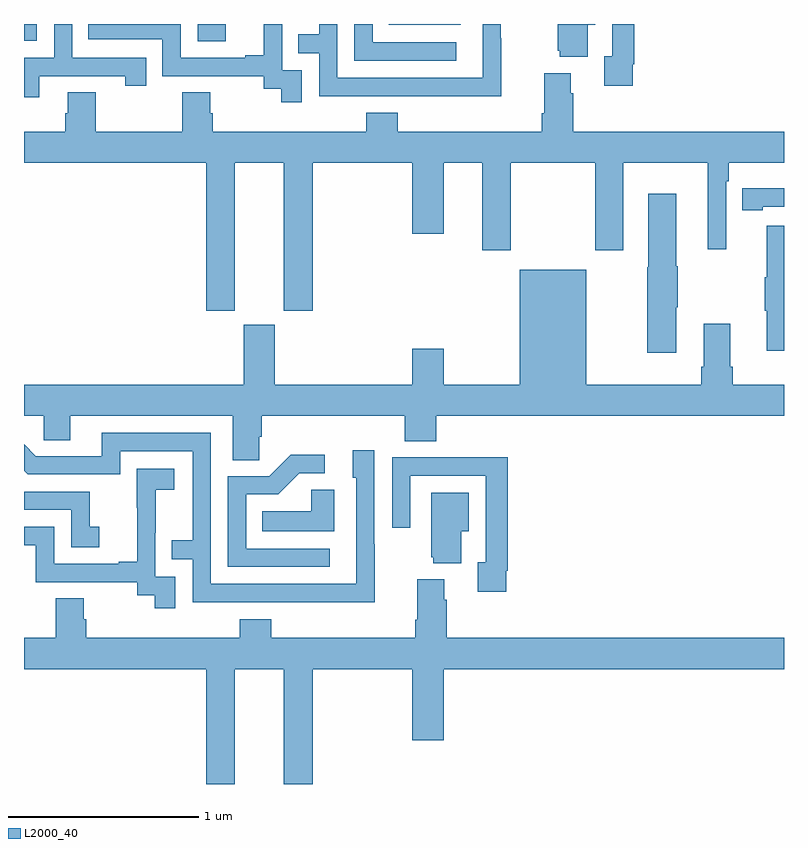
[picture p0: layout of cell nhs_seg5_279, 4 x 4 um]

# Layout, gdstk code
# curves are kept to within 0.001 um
import gdstk
lib = gdstk.Library(unit=1e-6, precision=1e-09)
def R(c, l, rs):  # rectangles x0, y0, x1, y1
    for r in rs: c.add(gdstk.rectangle(r[:2], r[2:], *l))
def P(c, l, *ps):  # polygons
    for p in ps: c.add(gdstk.Polygon(p, *l))
L2000_40 = (2000, 40)

nhs_seg5_279 = lib.new_cell('nhs_seg5_279')
R(nhs_seg5_279, L2000_40, [(127.914,882.708,128.062,882.799), (127,882.711,127.068,882.799), (128.92,882.794,129.298,882.799)])
P(nhs_seg5_279, L2000_40, [(127.081,882.525),(127.532,882.525),(127.532,882.474),(127.643,882.474),(127.643,882.621),(127.254,882.621),(127.254,882.799),(127.158,882.799),(127.158,882.621),(127,882.621),(127,882.414),(127.081,882.414)],
  [(128.463,882.555),(128.358,882.555),(128.358,882.785),(128.36,882.785),(128.36,882.799),(128.261,882.799),(128.261,882.634),(128.165,882.634),(128.165,882.621),(127.824,882.621),(127.824,882.799),(127.339,882.799),(127.339,882.72),(127.728,882.72),(127.728,882.525),(128.262,882.525),(128.262,882.457),(128.355,882.457),(128.355,882.387),(128.463,882.387)],
  [(130.204,882.586),(130.211,882.586),(130.211,882.799),(130.095,882.799),(130.095,882.63),(130.055,882.63),(130.055,882.474),(130.204,882.474)],
  [(129.274,882.702),(128.835,882.702),(128.835,882.799),(128.739,882.799),(128.739,882.606),(129.274,882.606)],
  [(129.513,882.725),(129.51,882.725),(129.51,882.799),(129.414,882.799),(129.414,882.516),(128.649,882.516),(128.649,882.799),(128.553,882.799),(128.553,882.746),(128.443,882.746),(128.443,882.645),(128.553,882.645),(128.553,882.42),(129.049,882.42),(129.049,882.419),(129.513,882.419)],
  [(129.967,882.794),(130.006,882.794),(130.006,882.799),(129.809,882.799),(129.809,882.657),(129.821,882.657),(129.821,882.626),(129.967,882.626)],
  [(129.877,882.434),(129.877,882.541),(129.737,882.541),(129.737,882.328),(129.725,882.328),(129.725,882.232),(128.966,882.232),(128.966,882.331),(128.801,882.331),(128.801,882.232),(127.994,882.232),(127.994,882.33),(127.981,882.33),(127.981,882.44),(127.834,882.44),(127.834,882.232),(127.377,882.232),(127.377,882.44),(127.229,882.44),(127.229,882.33),(127.217,882.33),(127.217,882.232),(127,882.232),(127,882.068),(127.958,882.068),(127.958,881.289),(128.11,881.289),(128.11,882.068),(128.366,882.068),(128.366,881.289),(128.519,881.289),(128.519,882.068),(129.044,882.068),(129.044,881.694),(129.208,881.694),(129.208,882.068),(129.413,882.068),(129.413,881.607),(129.561,881.607),(129.561,882.068),(130.006,882.068),(130.006,881.607),(130.153,881.607),(130.153,882.068),(130.598,882.068),(130.598,881.613),(130.695,881.613),(130.695,881.972),(130.709,881.972),(130.709,882.068),(131,882.068),(131,882.232),(129.89,882.232),(129.89,882.434)],
  [(130.888,881.838),(131,881.838),(131,881.935),(130.888,881.935),(130.888,881.934),(130.78,881.934),(130.78,881.818),(130.888,881.818)],
  [(130.432,881.308),(130.44,881.308),(130.44,881.525),(130.432,881.525),(130.432,881.905),(130.286,881.905),(130.286,881.519),(130.279,881.519),(130.279,881.07),(130.432,881.07)],
  [(131,881.737),(130.91,881.737),(130.91,881.465),(130.899,881.465),(130.899,881.291),(130.91,881.291),(130.91,881.079),(131,881.079)],
  [(128.238,880.627),(128.252,880.627),(128.252,880.736),(129.005,880.736),(129.005,880.603),(129.17,880.603),(129.17,880.736),(131,880.736),(131,880.9),(130.73,880.9),(130.73,880.996),(130.717,880.996),(130.717,881.221),(130.577,881.221),(130.577,880.996),(130.565,880.996),(130.565,880.9),(129.958,880.9),(129.958,881.506),(129.608,881.506),(129.608,880.9),(129.208,880.9),(129.208,881.089),(129.044,881.089),(129.044,880.9),(128.32,880.9),(128.32,881.217),(128.156,881.217),(128.156,880.9),(127,880.9),(127,880.736),(127.104,880.736),(127.104,880.609),(127.243,880.609),(127.243,880.736),(128.099,880.736),(128.099,880.504),(128.238,880.504)],
  [(128.847,880.061),(128.844,880.061),(128.844,880.555),(128.729,880.555),(128.729,880.41),(128.748,880.41),(128.748,879.852),(127.983,879.852),(127.983,880.647),(127.409,880.647),(127.409,880.524),(127.062,880.524),(127,880.586),(127,880.448),(127.02,880.428),(127.506,880.428),(127.506,880.551),(127.887,880.551),(127.887,880.082),(127.777,880.082),(127.777,879.981),(127.887,879.981),(127.887,879.756),(128.847,879.755)],
  [(128.608,880.038),(128.169,880.038),(128.169,880.323),(128.338,880.323),(128.449,880.434),(128.584,880.434),(128.584,880.532),(128.405,880.532),(128.292,880.419),(128.073,880.419),(128.073,879.942),(128.608,879.942)],
  [(129.538,879.922),(129.545,879.922),(129.545,880.52),(129.253,880.52),(129.253,880.518),(128.937,880.518),(128.937,880.149),(129.033,880.149),(129.033,880.422),(129.429,880.422),(129.429,879.966),(129.389,879.966),(129.389,879.81),(129.538,879.81)],
  [(127.797,879.891),(127.692,879.891),(127.692,880.121),(127.694,880.121),(127.694,880.349),(127.792,880.349),(127.792,880.459),(127.594,880.459),(127.594,880.253),(127.595,880.253),(127.595,879.97),(127.499,879.97),(127.499,879.957),(127.158,879.957),(127.158,880.152),(127,880.152),(127,880.056),(127.062,880.056),(127.062,879.861),(127.596,879.861),(127.596,879.793),(127.689,879.793),(127.689,879.723),(127.797,879.723)],
  [(128.632,880.349),(128.511,880.349),(128.511,880.234),(128.254,880.234),(128.254,880.13),(128.632,880.13)],
  [(127.396,880.153),(127.347,880.153),(127.347,880.338),(127,880.338),(127,880.242),(127.248,880.242),(127.248,880.044),(127.396,880.044)],
  [(129.301,880.13),(129.34,880.13),(129.34,880.333),(129.143,880.333),(129.143,879.993),(129.155,879.993),(129.155,879.962),(129.301,879.962)],
  [(128.11,879.404),(128.366,879.404),(128.366,878.799),(128.519,878.799),(128.519,879.404),(129.044,879.404),(129.044,879.03),(129.208,879.03),(129.208,879.404),(131,879.404),(131,879.568),(129.224,879.568),(129.224,879.77),(129.211,879.77),(129.211,879.877),(129.071,879.877),(129.071,879.664),(129.059,879.664),(129.059,879.568),(128.3,879.568),(128.3,879.667),(128.135,879.667),(128.135,879.568),(127.328,879.568),(127.328,879.666),(127.315,879.666),(127.315,879.776),(127.168,879.776),(127.168,879.568),(127,879.568),(127,879.404),(127.958,879.404),(127.958,878.799),(128.11,878.799)])

lib.write_gds('nhs_seg5_279.gds')
